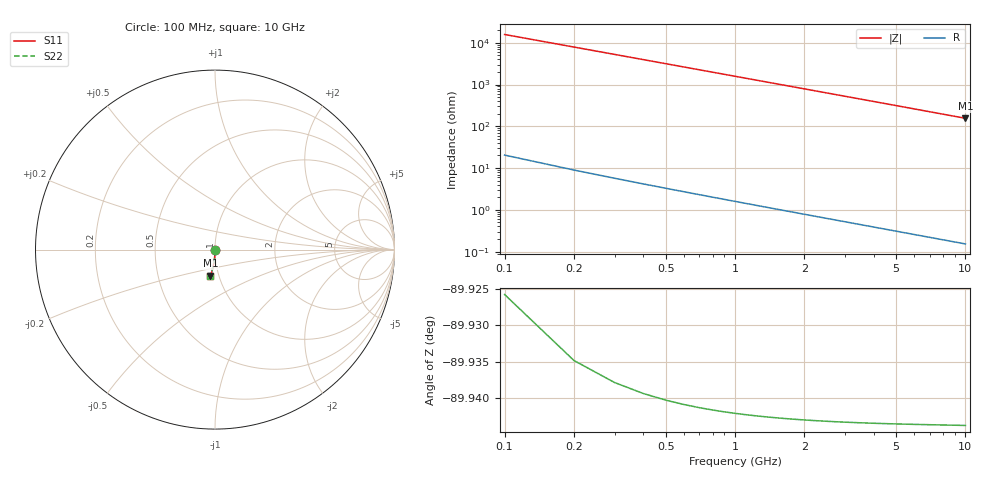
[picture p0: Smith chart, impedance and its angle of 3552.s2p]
# Hz S RI R 50.00
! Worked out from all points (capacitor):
!   100 points, 100 MHz to 10 GHz, reference 50 ohm
!   read as one part in shunt: C = 101 fF near 100 MHz
!   lowest |Z| = 156 ohm at 10 GHz (marker M1)
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1e8  2.28e-05 -0.00148  1 -0.00169  1 -0.00169  2.28e-05 -0.00148
2e8  1.39e-05 -0.00295  1 -0.00338  1 -0.00338  1.39e-05 -0.00295
3e8  1.66e-08 -0.00443  0.9999 -0.00508  0.9999 -0.00508  1.66e-08 -0.00443
4e8  -1.89e-05 -0.0059  0.9999 -0.00677  0.9999 -0.00677  -1.89e-05 -0.0059
5e8  -4.28e-05 -0.00738  0.9999 -0.00846  0.9999 -0.00846  -4.28e-05 -0.00738
6e8  -7.18e-05 -0.00886  0.9999 -0.0102  0.9999 -0.0102  -7.18e-05 -0.00886
7e8  -0.000106 -0.0103  0.9998 -0.0118  0.9998 -0.0118  -0.000106 -0.0103
8e8  -0.000145 -0.0118  0.9998 -0.0135  0.9998 -0.0135  -0.000145 -0.0118
9e8  -0.000189 -0.0133  0.9998 -0.0152  0.9998 -0.0152  -0.000189 -0.0133
1.1e9  -0.000292 -0.0162  0.9996 -0.0186  0.9996 -0.0186  -0.000292 -0.0162
1.4e9  -0.000484 -0.0207  0.9995 -0.0237  0.9995 -0.0237  -0.000484 -0.0207
1.8e9  -0.000811 -0.0266  0.9991 -0.0305  0.9991 -0.0305  -0.000811 -0.0266
2.1e9  -0.00111 -0.031  0.9988 -0.0356  0.9988 -0.0356  -0.00111 -0.031
2.5e9  -0.00158 -0.0369  0.9983 -0.0424  0.9983 -0.0424  -0.00158 -0.0369
2.9e9  -0.00213 -0.0429  0.9978 -0.0491  0.9978 -0.0491  -0.00213 -0.0429
3.4e9  -0.00293 -0.0502  0.997 -0.0576  0.997 -0.0576  -0.00293 -0.0502
4.2e9  -0.00447 -0.0621  0.9954 -0.0712  0.9954 -0.0712  -0.00447 -0.0621
5.1e9  -0.0066 -0.0753  0.9933 -0.0864  0.9933 -0.0864  -0.0066 -0.0753
5.9e9  -0.00884 -0.087  0.991 -0.0999  0.991 -0.0999  -0.00884 -0.087
6.7e9  -0.0114 -0.0987  0.9884 -0.1134  0.9884 -0.1134  -0.0114 -0.0987
8.4e9  -0.0179 -0.1232  0.9819 -0.1417  0.9819 -0.1417  -0.0179 -0.1232
1e10  -0.0253 -0.1458  0.9744 -0.1679  0.9744 -0.1679  -0.0253 -0.1458
